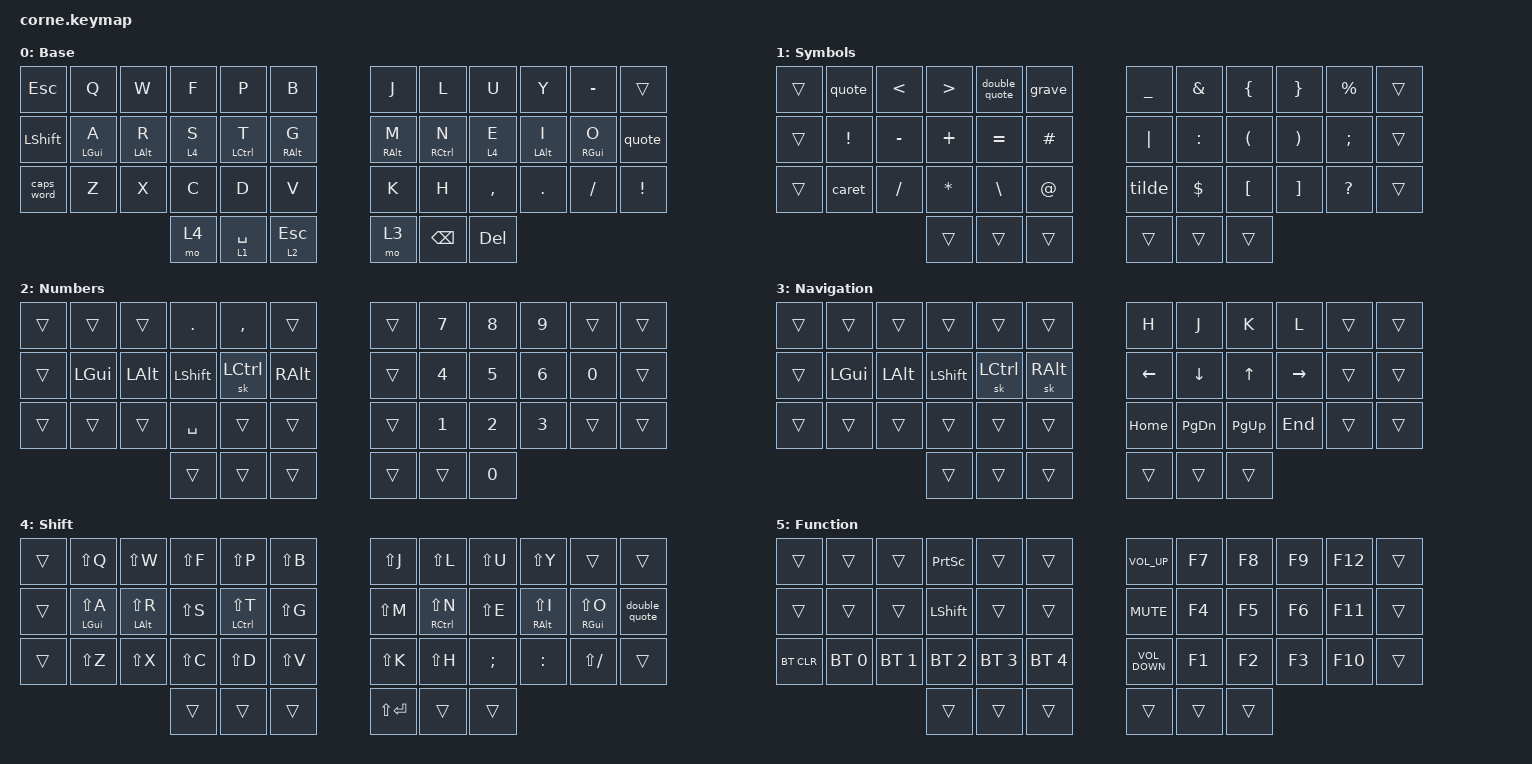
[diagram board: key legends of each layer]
/*
 * Copyright (c) 2020 The ZMK Contributors
 *
 * SPDX-License-Identifier: MIT
 */

#include <behaviors.dtsi>
#include "keyposdef.h"
#include <dt-bindings/zmk/bt.h>
#include <dt-bindings/zmk/keys.h>

#define KEYS_L LT0 LT1 LT2 LT3 LT4 LT5 LM0 LM1 LM2 LM3 LM4 LM5 LB0 LB1 LB2 LB3 LB4 LB5  // left hand
#define KEYS_R RT0 RT1 RT2 RT3 RT4 RT5 RM0 RM1 RM2 RM3 RM4 RM5 RB0 RB1 RB2 RB3 RB4 RB5  // right hand
#define THUMBS LH2 LH1 LH0 RH0 RH1 RH2                                      // thumbs
#define COMBO_TERM 30;

/ {
    macros {
        quote: quote {
            compatible = "zmk,behavior-macro";
            label = "QUOTE";
            #binding-cells = <0>;
            bindings = <&kp SINGLE_QUOTE &kp SPACE>;
        };

        double_quote: double_quote {
            compatible = "zmk,behavior-macro";
            label = "DOUBLE_QUOTE";
            #binding-cells = <0>;
            bindings = <&kp DOUBLE_QUOTES &kp SPACE>;
        };

        e_aigue: e_aigue {
            compatible = "zmk,behavior-macro";
            label = "E_AIGUE";
            #binding-cells = <0>;
            bindings = <&kp SINGLE_QUOTE &kp E>;
        };

        e_grave: e_grave {
            compatible = "zmk,behavior-macro";
            label = "E_GRAVE";
            #binding-cells = <0>;
            bindings = <&kp GRAVE &kp E>;
        };

        e_circ: e_circ {
            compatible = "zmk,behavior-macro";
            label = "E_CIRC";
            #binding-cells = <0>;
            bindings = <&kp CARET &kp E>;
        };

        e_trema: e_trema {
            compatible = "zmk,behavior-macro";
            label = "E_TREMA";
            #binding-cells = <0>;
            bindings = <&kp LS(SINGLE_QUOTE) &kp E>;
        };

        e_maj_aigue: e_maj_aigue {
            compatible = "zmk,behavior-macro";
            label = "E_MAJ_AIGUE";
            #binding-cells = <0>;
            bindings = <&kp SINGLE_QUOTE &kp LS(E)>;
        };

        e_maj_grave: e_maj_grave {
            compatible = "zmk,behavior-macro";
            label = "E_MAJ_GRAVE";
            #binding-cells = <0>;
            bindings = <&kp GRAVE &kp LS(E)>;
        };

        e_maj_circ: e_maj_circ {
            compatible = "zmk,behavior-macro";
            label = "E_MAJ_CIRC";
            #binding-cells = <0>;
            bindings = <&kp CARET &kp LS(E)>;
        };

        e_maj_trema: e_maj_trema {
            compatible = "zmk,behavior-macro";
            label = "E_MAJ_TREMA";
            #binding-cells = <0>;
            bindings = <&kp LS(SINGLE_QUOTE) &kp LS(E)>;
        };

        a_grave: a_grave {
            compatible = "zmk,behavior-macro";
            label = "A_GRAVE";
            #binding-cells = <0>;
            bindings = <&kp GRAVE &kp A>;
        };

        a_maj_grave: a_ma_grave {
            compatible = "zmk,behavior-macro";
            label = "A_MAJ_GRAVE";
            #binding-cells = <0>;
            bindings = <&kp GRAVE &kp LS(A)>;
        };

        grave: grave {
            compatible = "zmk,behavior-macro";
            label = "GRAVE";
            #binding-cells = <0>;
            bindings = <&kp GRAVE &kp SPACE>;
        };

        caret: caret {
            compatible = "zmk,behavior-macro";
            label = "CARET";
            #binding-cells = <0>;
            bindings = <&kp CARET &kp SPACE>;
        };

        c_cedille: c_cedille {
            compatible = "zmk,behavior-macro";
            label = "C_CEDILLE";
            #binding-cells = <0>;
            bindings = <&kp RG(C)>;
        };

        tilde: tilde {
            compatible = "zmk,behavior-macro";
            label = "TILDE";
            #binding-cells = <0>;
            bindings = <&kp TILDE &kp SPACE>;
        };

        arrow: arrow {
            compatible = "zmk,behavior-macro";
            label = "ARROW";
            #binding-cells = <0>;
            bindings = <&kp MINUS &kp GT>;
        };
    };

    behaviors {
        hml: hml {
            compatible = "zmk,behavior-hold-tap";
            label = "HOMEROW_MODS_LEFT";
            #binding-cells = <2>;
            flavor = "balanced";
            tapping-term-ms = <280>;
            quick-tap-ms = <175>;// repeat on tap-into-hold
            global-quick-tap;
            bindings = <&kp>, <&kp>;

            hold-trigger-key-positions = <KEYS_R THUMBS>;
            hold-trigger-on-release;// delay positional check until key-release
        };

        hmr: hmr {
            compatible = "zmk,behavior-hold-tap";
            label = "HOMEROW_MODS_RIGHT";
            #binding-cells = <2>;
            flavor = "balanced";
            tapping-term-ms = <280>;
            quick-tap-ms = <175>;// repeat on tap-into-hold
            global-quick-tap;
            bindings = <&kp>, <&kp>;

            hold-trigger-key-positions = <KEYS_L THUMBS>;
            hold-trigger-on-release;// delay positional check until key-release
        };

        hml_shift: hml_shift {
            compatible = "zmk,behavior-hold-tap";
            label = "HOMEROW_MODS_LEFT_SHIFT";
            #binding-cells = <2>;
            flavor = "balanced";
            tapping-term-ms = <280>;
            quick-tap-ms = <175>;// repeat on tap-into-hold
            global-quick-tap;
            bindings = <&mo>, <&kp>;

            hold-trigger-key-positions = <KEYS_R THUMBS>;
            hold-trigger-on-release;// delay positional check until key-release
        };

        hmr_shift: hmr_shift {
            compatible = "zmk,behavior-hold-tap";
            label = "HOMEROW_MODS_RIGHT_SHIFT";
            #binding-cells = <2>;
            flavor = "balanced";
            tapping-term-ms = <280>;
            quick-tap-ms = <175>;// repeat on tap-into-hold
            global-quick-tap;
            bindings = <&mo>, <&kp>;

            hold-trigger-key-positions = <KEYS_L THUMBS>;
            hold-trigger-on-release;// delay positional check until key-release
        };

        hm: homerow_mods {
            compatible = "zmk,behavior-hold-tap";
            label = "HOMEROW_MODS";
            #binding-cells = <2>;
            tapping-term-ms = <150>;
            quick-tap-ms = <0>;
            flavor = "tap-preferred";
            bindings = <&kp>, <&kp>;
        };
    };

    combos {
        compatible = "zmk,combos";

        enter {
            bindings = <&kp ENTER>;
            key-positions = <31 32 33>;
            timeout-ms = <30>;
            layers = <0 1 5 2 3>;
        };

        shift_enter {
            bindings = <&kp LS(ENTER)>;
            key-positions = <31 32 33>;
            timeout-ms = <30>;
            layers = <4>;
        };

        e_grave {
            bindings = <&e_grave>;
            key-positions = <19 20>;
            timeout-ms = <30>;
            layers = <0>;
        };

        e_maj_grave {
            bindings = <&e_maj_grave>;
            key-positions = <19 20>;
            timeout-ms = <30>;
            layers = <4>;
        };

        e_aigue {
            bindings = <&e_aigue>;
            key-positions = <20 21>;
            timeout-ms = <30>;
            layers = <0>;
        };

        e_maj_aigue {
            bindings = <&e_maj_aigue>;
            key-positions = <20 21>;
            timeout-ms = <30>;
            layers = <4>;
        };

        a_grave {
            bindings = <&a_grave>;
            key-positions = <13 14>;
            timeout-ms = <25>;
            layers = <0>;
        };

        a_maj_grave {
            bindings = <&a_maj_grave>;
            key-positions = <13 14>;
            timeout-ms = <25>;
            layers = <4>;
        };

        ctrl_alt_sup {
            bindings = <&kp LC(LA(DEL))>;
            key-positions = <9 10 11>;
            timeout-ms = <30>;
            slow-release;
            layers = <0>;
        };

        c_cedille {
            bindings = <&kp RA(COMMA)>;
            key-positions = <27 26>;
            timeout-ms = <30>;
            layers = <0>;
        };

        c_maj_cedille {
            bindings = <&kp RA(LS(COMMA))>;
            key-positions = <27 26>;
            timeout-ms = <30>;
            layers = <4>;
        };

        combo_underscore {
            bindings = <&kp UNDER>;
            key-positions = <32 33>;
            timeout-ms = <30>;
            layers = <0 4 2 1>;
        };

        tab {
            bindings = <&kp TAB>;
            key-positions = <31 32>;
            timeout-ms = <30>;
            layers = <0 1 2 3 5>;
        };

        dead_quote {
            bindings = <&kp SINGLE_QUOTE>;
            key-positions = <8 9>;
            timeout-ms = <30>;
            layers = <0 4>;
        };

        dead_grave {
            bindings = <&kp GRAVE>;
            key-positions = <7 8>;
            layers = <0 4>;
            timeout-ms = <30>;
        };

        dead_caret {
            bindings = <&kp CARET>;
            key-positions = <2 3>;
            timeout-ms = <30>;
            layers = <0 4>;
        };

        dead_trema {
            bindings = <&kp DOUBLE_QUOTES>;
            key-positions = <3 4>;
            timeout-ms = <30>;
            layers = <0 4>;
        };

        function {
            bindings = <&mo 5>;
            key-positions = <37 40>;
            layers = <0>;
        };

        space_symbol {
            bindings = <&kp SPACE>;
            key-positions = <20 21>;
            timeout-ms = <30>;
            layers = <1>;
        };

        space_symbol_2 {
            bindings = <&kp SPACE>;
            key-positions = <15 14>;
            layers = <1>;
        };

        shift_tab {
            bindings = <&kp LS(TAB)>;
            key-positions = <31 32>;
            layers = <4>;
            timeout-ms = <30>;
        };
    };

    keymap {
        compatible = "zmk,keymap";

        Base {
            // -----------------------------------------------------------------------------------------
            // |  TAB |  Q  |  W  |  E  |  R  |  T  |   |  Y  |  U   |  I  |  O  |  P  | BKSP |
            // | CTRL |  A  |  S  |  D  |  F  |  G  |   |  H  |  J   |  K  |  L  |  ;  |  '   |
            // | SHFT |  Z  |  X  |  C  |  V  |  B  |   |  N  |  M   |  ,  |  .  |  /  | ESC  |
            //                    | GUI | LWR | SPC |   | ENT | RSE  | ALT |

            bindings = <
&kp ESCAPE      &kp Q            &kp W            &kp F           &kp P         &kp B               &kp J        &kp L          &kp U           &kp Y            &kp MINUS         &trans
&kp LEFT_SHIFT  &hml LEFT_GUI A  &hml LEFT_ALT R  &hml_shift 4 S  &hml LCTRL T  &hml RIGHT_ALT G    &hmr RALT M  &hmr RCTRL N   &hmr_shift 4 E  &hmr LEFT_ALT I  &hmr RIGHT_GUI O  &quote
&caps_word      &kp Z            &kp X            &kp C           &kp D         &kp V               &kp K        &kp H          &kp COMMA       &kp DOT          &kp FSLH          &kp EXCLAMATION
                                                  &mo 4           &lt 1 SPACE   &lt 2 ESCAPE        &mo 3        &kp BACKSPACE  &kp DELETE
            >;
        };

        Symbols {
            // -----------------------------------------------------------------------------------------
            // |  TAB |  !  |  @  |  #  |  $  |  %  |   |  ^  |  &  |  *  |  (  |  )  | BKSP |
            // | CTRL |     |     |     |     |     |   |  -  |  =  |  [  |  ]  |  \  |  `   |
            // | SHFT |     |     |     |     |     |   |  _  |  +  |  {  |  }  | "|" |  ~   |
            //                    | GUI |     | SPC |   | ENT |     | ALT |

            bindings = <
&trans  &quote    &kp LESS_THAN  &kp GREATER_THAN  &double_quote  &grave      &kp UNDER  &kp AMPERSAND  &kp LEFT_BRACE        &kp RIGHT_BRACE        &kp PRCNT     &trans
&trans  &kp EXCL  &kp MINUS      &kp PLUS          &kp EQUAL      &kp HASH    &kp PIPE   &kp COLON      &kp LEFT_PARENTHESIS  &kp RIGHT_PARENTHESIS  &kp SEMI      &trans
&trans  &caret    &kp FSLH       &kp STAR          &kp BSLH       &kp AT      &tilde     &kp DLLR       &kp LEFT_BRACKET      &kp RIGHT_BRACKET      &kp QUESTION  &trans
                                 &trans            &trans         &trans      &trans     &trans         &trans
            >;
        };

        Numbers {
            bindings = <
&trans  &trans    &trans    &kp DOT     &kp COMMA  &trans      &trans  &kp N7        &kp N8        &kp N9  &trans        &trans
&trans  &kp LGUI  &kp LALT  &kp LSHIFT  &sk LCTRL  &kp RALT    &trans  &kp N4        &kp N5        &kp N6  &kp NUMBER_0  &trans
&trans  &trans    &trans    &kp SPACE   &trans     &trans      &trans  &kp NUMBER_1  &kp N2        &kp N3  &trans        &trans
                            &trans      &trans     &trans      &trans  &trans        &kp NUMBER_0
            >;
        };

        Navigation {
            // -----------------------------------------------------------------------------------------
            // |  TAB |  1  |  2  |  3  |  4  |  5  |   |  6  |  7  |  8  |  9  |  0  | BKSP |
            // | BTCLR| BT1 | BT2 | BT3 | BT4 | BT5 |   | LFT | DWN |  UP | RGT |     |      |
            // | SHFT |     |     |     |     |     |   |     |     |     |     |     |      |
            //                    | GUI |     | SPC |   | ENT |     | ALT |

            bindings = <
&trans  &trans    &trans    &trans      &trans     &trans      &kp H     &kp J          &kp K      &kp L      &trans  &trans
&trans  &kp LGUI  &kp LALT  &kp LSHIFT  &sk LCTRL  &sk RALT    &kp LEFT  &kp DOWN       &kp UP     &kp RIGHT  &trans  &trans
&trans  &trans    &trans    &trans      &trans     &trans      &kp HOME  &kp PAGE_DOWN  &kp PG_UP  &kp END    &trans  &trans
                            &trans      &trans     &trans      &trans    &trans         &trans
            >;
        };

        Shift {
            // -----------------------------------------------------------------------------------------
            // |  TAB |  Q  |  W  |  E  |  R  |  T  |   |  Y  |  U   |  I  |  O  |  P  | BKSP |
            // | CTRL |  A  |  S  |  D  |  F  |  G  |   |  H  |  J   |  K  |  L  |  ;  |  '   |
            // | SHFT |  Z  |  X  |  C  |  V  |  B  |   |  N  |  M   |  ,  |  .  |  /  | ESC  |
            //                    | GUI | LWR | SPC |   | ENT | RSE  | ALT |

            bindings = <
&trans  &kp LS(Q)            &kp LS(W)            &kp LS(F)  &kp LS(P)         &kp LS(B)    &kp LS(J)      &kp LS(L)         &kp LS(U)  &kp LS(Y)             &trans                &trans
&trans  &hml LEFT_GUI LS(A)  &hml LEFT_ALT LS(R)  &kp LS(S)  &hml LCTRL LS(T)  &kp LS(G)    &kp LS(M)      &hmr RCTRL LS(N)  &kp LS(E)  &hmr RIGHT_ALT LS(I)  &hmr RIGHT_GUI LS(O)  &double_quote
&trans  &kp LS(Z)            &kp LS(X)            &kp LS(C)  &kp LS(D)         &kp LS(V)    &kp LS(K)      &kp LS(H)         &kp SEMI   &kp COLON             &kp LS(FSLH)          &trans
                                                  &trans     &trans            &trans       &kp LS(ENTER)  &trans            &trans
            >;
        };

        Function {
            bindings = <
&trans      &trans        &trans        &kp PRINTSCREEN  &trans        &trans          &kp C_VOLUME_UP    &kp F7  &kp F8  &kp F9  &kp F12  &trans
&trans      &trans        &trans        &kp LSHIFT       &trans        &trans          &kp C_MUTE         &kp F4  &kp F5  &kp F6  &kp F11  &trans
&bt BT_CLR  &bt BT_SEL 0  &bt BT_SEL 1  &bt BT_SEL 2     &bt BT_SEL 3  &bt BT_SEL 4    &kp C_VOLUME_DOWN  &kp F1  &kp F2  &kp F3  &kp F10  &trans
                                        &trans           &trans        &trans          &trans             &trans  &trans
            >;
        };
    };
};
